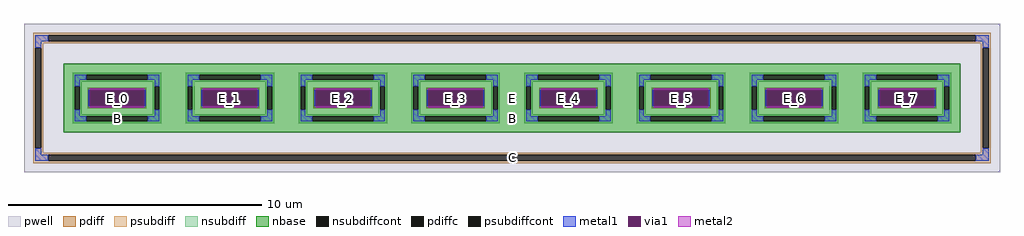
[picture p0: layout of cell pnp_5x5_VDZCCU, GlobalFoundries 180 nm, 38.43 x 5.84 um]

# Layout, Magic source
magic
tech gf180mcuD
magscale 3 26
<< pwell >>
rect -3331 234 3331 506
rect -3331 -234 -3059 234
rect 3059 -234 3331 234
rect -3331 -506 3331 -234
<< nbase >>
rect -3059 -234 3059 234
<< pdiff >>
rect -2895 56 -2495 70
rect -2895 -56 -2881 56
rect -2509 -56 -2495 56
rect -2895 -70 -2495 -56
rect -2125 56 -1725 70
rect -2125 -56 -2111 56
rect -1739 -56 -1725 56
rect -2125 -70 -1725 -56
rect -1355 56 -955 70
rect -1355 -56 -1341 56
rect -969 -56 -955 56
rect -1355 -70 -955 -56
rect -585 56 -185 70
rect -585 -56 -571 56
rect -199 -56 -185 56
rect -585 -70 -185 -56
rect 185 56 585 70
rect 185 -56 199 56
rect 571 -56 585 56
rect 185 -70 585 -56
rect 955 56 1355 70
rect 955 -56 969 56
rect 1341 -56 1355 56
rect 955 -70 1355 -56
rect 1725 56 2125 70
rect 1725 -56 1739 56
rect 2111 -56 2125 56
rect 1725 -70 2125 -56
rect 2495 56 2895 70
rect 2495 -56 2509 56
rect 2881 -56 2895 56
rect 2495 -70 2895 -56
<< pdiffc >>
rect -2881 -56 -2509 56
rect -2111 -56 -1739 56
rect -1341 -56 -969 56
rect -571 -56 -199 56
rect 199 -56 571 56
rect 969 -56 1341 56
rect 1739 -56 2111 56
rect 2509 -56 2881 56
<< psubdiff >>
rect -3269 430 3269 444
rect -3269 388 -3167 430
rect 3167 388 3269 430
rect -3269 374 3269 388
rect -3269 342 -3199 374
rect -3269 -342 -3255 342
rect -3213 -342 -3199 342
rect 3199 342 3269 374
rect -3269 -374 -3199 -342
rect 3199 -342 3213 342
rect 3255 -342 3269 342
rect 3199 -374 3269 -342
rect -3269 -388 3269 -374
rect -3269 -430 -3167 -388
rect 3167 -430 3269 -388
rect -3269 -444 3269 -430
<< nsubdiff >>
rect -2997 158 -2393 172
rect -2997 126 -2905 158
rect -2485 126 -2393 158
rect -2997 112 -2393 126
rect -2997 80 -2937 112
rect -2997 -80 -2983 80
rect -2951 -80 -2937 80
rect -2453 80 -2393 112
rect -2997 -112 -2937 -80
rect -2453 -80 -2439 80
rect -2407 -80 -2393 80
rect -2453 -112 -2393 -80
rect -2997 -126 -2393 -112
rect -2997 -158 -2905 -126
rect -2485 -158 -2393 -126
rect -2997 -172 -2393 -158
rect -2227 158 -1623 172
rect -2227 126 -2135 158
rect -1715 126 -1623 158
rect -2227 112 -1623 126
rect -2227 80 -2167 112
rect -2227 -80 -2213 80
rect -2181 -80 -2167 80
rect -1683 80 -1623 112
rect -2227 -112 -2167 -80
rect -1683 -80 -1669 80
rect -1637 -80 -1623 80
rect -1683 -112 -1623 -80
rect -2227 -126 -1623 -112
rect -2227 -158 -2135 -126
rect -1715 -158 -1623 -126
rect -2227 -172 -1623 -158
rect -1457 158 -853 172
rect -1457 126 -1365 158
rect -945 126 -853 158
rect -1457 112 -853 126
rect -1457 80 -1397 112
rect -1457 -80 -1443 80
rect -1411 -80 -1397 80
rect -913 80 -853 112
rect -1457 -112 -1397 -80
rect -913 -80 -899 80
rect -867 -80 -853 80
rect -913 -112 -853 -80
rect -1457 -126 -853 -112
rect -1457 -158 -1365 -126
rect -945 -158 -853 -126
rect -1457 -172 -853 -158
rect -687 158 -83 172
rect -687 126 -595 158
rect -175 126 -83 158
rect -687 112 -83 126
rect -687 80 -627 112
rect -687 -80 -673 80
rect -641 -80 -627 80
rect -143 80 -83 112
rect -687 -112 -627 -80
rect -143 -80 -129 80
rect -97 -80 -83 80
rect -143 -112 -83 -80
rect -687 -126 -83 -112
rect -687 -158 -595 -126
rect -175 -158 -83 -126
rect -687 -172 -83 -158
rect 83 158 687 172
rect 83 126 175 158
rect 595 126 687 158
rect 83 112 687 126
rect 83 80 143 112
rect 83 -80 97 80
rect 129 -80 143 80
rect 627 80 687 112
rect 83 -112 143 -80
rect 627 -80 641 80
rect 673 -80 687 80
rect 627 -112 687 -80
rect 83 -126 687 -112
rect 83 -158 175 -126
rect 595 -158 687 -126
rect 83 -172 687 -158
rect 853 158 1457 172
rect 853 126 945 158
rect 1365 126 1457 158
rect 853 112 1457 126
rect 853 80 913 112
rect 853 -80 867 80
rect 899 -80 913 80
rect 1397 80 1457 112
rect 853 -112 913 -80
rect 1397 -80 1411 80
rect 1443 -80 1457 80
rect 1397 -112 1457 -80
rect 853 -126 1457 -112
rect 853 -158 945 -126
rect 1365 -158 1457 -126
rect 853 -172 1457 -158
rect 1623 158 2227 172
rect 1623 126 1715 158
rect 2135 126 2227 158
rect 1623 112 2227 126
rect 1623 80 1683 112
rect 1623 -80 1637 80
rect 1669 -80 1683 80
rect 2167 80 2227 112
rect 1623 -112 1683 -80
rect 2167 -80 2181 80
rect 2213 -80 2227 80
rect 2167 -112 2227 -80
rect 1623 -126 2227 -112
rect 1623 -158 1715 -126
rect 2135 -158 2227 -126
rect 1623 -172 2227 -158
rect 2393 158 2997 172
rect 2393 126 2485 158
rect 2905 126 2997 158
rect 2393 112 2997 126
rect 2393 80 2453 112
rect 2393 -80 2407 80
rect 2439 -80 2453 80
rect 2937 80 2997 112
rect 2393 -112 2453 -80
rect 2937 -80 2951 80
rect 2983 -80 2997 80
rect 2937 -112 2997 -80
rect 2393 -126 2997 -112
rect 2393 -158 2485 -126
rect 2905 -158 2997 -126
rect 2393 -172 2997 -158
<< psubdiffcont >>
rect -3167 388 3167 430
rect -3255 -342 -3213 342
rect 3213 -342 3255 342
rect -3167 -430 3167 -388
<< nsubdiffcont >>
rect -2905 126 -2485 158
rect -2983 -80 -2951 80
rect -2439 -80 -2407 80
rect -2905 -158 -2485 -126
rect -2135 126 -1715 158
rect -2213 -80 -2181 80
rect -1669 -80 -1637 80
rect -2135 -158 -1715 -126
rect -1365 126 -945 158
rect -1443 -80 -1411 80
rect -899 -80 -867 80
rect -1365 -158 -945 -126
rect -595 126 -175 158
rect -673 -80 -641 80
rect -129 -80 -97 80
rect -595 -158 -175 -126
rect 175 126 595 158
rect 97 -80 129 80
rect 641 -80 673 80
rect 175 -158 595 -126
rect 945 126 1365 158
rect 867 -80 899 80
rect 1411 -80 1443 80
rect 945 -158 1365 -126
rect 1715 126 2135 158
rect 1637 -80 1669 80
rect 2181 -80 2213 80
rect 1715 -158 2135 -126
rect 2485 126 2905 158
rect 2407 -80 2439 80
rect 2951 -80 2983 80
rect 2485 -158 2905 -126
<< metal1 >>
rect -3255 388 -3167 430
rect 3167 388 3255 430
rect -3255 342 -3213 388
rect 3213 342 3255 388
rect -2983 126 -2905 158
rect -2485 126 -2407 158
rect -2983 80 -2951 126
rect -2439 80 -2407 126
rect -2891 56 -2499 57
rect -2891 -56 -2881 56
rect -2509 -56 -2499 56
rect -2891 -57 -2499 -56
rect -2983 -126 -2951 -80
rect -2439 -126 -2407 -80
rect -2983 -158 -2905 -126
rect -2485 -158 -2407 -126
rect -2213 126 -2135 158
rect -1715 126 -1637 158
rect -2213 80 -2181 126
rect -1669 80 -1637 126
rect -2121 56 -1729 57
rect -2121 -56 -2111 56
rect -1739 -56 -1729 56
rect -2121 -57 -1729 -56
rect -2213 -126 -2181 -80
rect -1669 -126 -1637 -80
rect -2213 -158 -2135 -126
rect -1715 -158 -1637 -126
rect -1443 126 -1365 158
rect -945 126 -867 158
rect -1443 80 -1411 126
rect -899 80 -867 126
rect -1351 56 -959 57
rect -1351 -56 -1341 56
rect -969 -56 -959 56
rect -1351 -57 -959 -56
rect -1443 -126 -1411 -80
rect -899 -126 -867 -80
rect -1443 -158 -1365 -126
rect -945 -158 -867 -126
rect -673 126 -595 158
rect -175 126 -97 158
rect -673 80 -641 126
rect -129 80 -97 126
rect -581 56 -189 57
rect -581 -56 -571 56
rect -199 -56 -189 56
rect -581 -57 -189 -56
rect -673 -126 -641 -80
rect -129 -126 -97 -80
rect -673 -158 -595 -126
rect -175 -158 -97 -126
rect 97 126 175 158
rect 595 126 673 158
rect 97 80 129 126
rect 641 80 673 126
rect 189 56 581 57
rect 189 -56 199 56
rect 571 -56 581 56
rect 189 -57 581 -56
rect 97 -126 129 -80
rect 641 -126 673 -80
rect 97 -158 175 -126
rect 595 -158 673 -126
rect 867 126 945 158
rect 1365 126 1443 158
rect 867 80 899 126
rect 1411 80 1443 126
rect 959 56 1351 57
rect 959 -56 969 56
rect 1341 -56 1351 56
rect 959 -57 1351 -56
rect 867 -126 899 -80
rect 1411 -126 1443 -80
rect 867 -158 945 -126
rect 1365 -158 1443 -126
rect 1637 126 1715 158
rect 2135 126 2213 158
rect 1637 80 1669 126
rect 2181 80 2213 126
rect 1729 56 2121 57
rect 1729 -56 1739 56
rect 2111 -56 2121 56
rect 1729 -57 2121 -56
rect 1637 -126 1669 -80
rect 2181 -126 2213 -80
rect 1637 -158 1715 -126
rect 2135 -158 2213 -126
rect 2407 126 2485 158
rect 2905 126 2983 158
rect 2407 80 2439 126
rect 2951 80 2983 126
rect 2499 56 2891 57
rect 2499 -56 2509 56
rect 2881 -56 2891 56
rect 2499 -57 2891 -56
rect 2407 -126 2439 -80
rect 2951 -126 2983 -80
rect 2407 -158 2485 -126
rect 2905 -158 2983 -126
rect -3255 -388 -3213 -342
rect 3213 -388 3255 -342
rect -3255 -430 -3167 -388
rect 3167 -430 3255 -388
<< via1 >>
rect -2881 -56 -2509 56
rect -2111 -56 -1739 56
rect -1341 -56 -969 56
rect -571 -56 -199 56
rect 199 -56 571 56
rect 969 -56 1341 56
rect 1739 -56 2111 56
rect 2509 -56 2881 56
<< metal2 >>
rect -2881 56 -2509 65
rect -2881 -65 -2509 -56
rect -2111 56 -1739 65
rect -2111 -65 -1739 -56
rect -1341 56 -969 65
rect -1341 -65 -969 -56
rect -571 56 -199 65
rect -571 -65 -199 -56
rect 199 56 571 65
rect 199 -65 571 -56
rect 969 56 1341 65
rect 969 -65 1341 -56
rect 1739 56 2111 65
rect 1739 -65 2111 -56
rect 2509 56 2881 65
rect 2509 -65 2881 -56
<< labels >>
rlabel nbase 0 -142 0 -142 0 B
port 1 nsew
rlabel nbase 0 0 0 0 0 E
port 2 nsew
rlabel psubdiffcont 0 -409 0 -409 0 C
port 3 nsew
rlabel nsubdiffcont -2695 -142 -2695 -142 0 B
port 1 nsew
rlabel pdiffc -2695 0 -2695 0 0 E_0
port 4 nsew
rlabel pdiffc -1925 0 -1925 0 0 E_1
port 5 nsew
rlabel pdiffc -1155 0 -1155 0 0 E_2
port 6 nsew
rlabel pdiffc -385 0 -385 0 0 E_3
port 7 nsew
rlabel pdiffc 385 0 385 0 0 E_4
port 8 nsew
rlabel pdiffc 1155 0 1155 0 0 E_5
port 9 nsew
rlabel pdiffc 1925 0 1925 0 0 E_6
port 10 nsew
rlabel pdiffc 2695 0 2695 0 0 E_7
port 11 nsew
<< properties >>
string FIXED_BBOX 2423 -142 2967 142
string gencell pnp_5x5
string library gf180mcu
string parameters w 2.0 l 0.7 area 1.4 peri 5.4 nx 8 ny 1 dummy 0 lmin 0.7 wmin 2.0 class bjt elc 1 erc 1 etc 1 ebc 1 doverlap 0 doports 1 full_metal 1 vias 1 viagb 0 viagt 0 viagl 0 viagr 0 a 1.4e-12 p 5.4e-06
<< end >>
